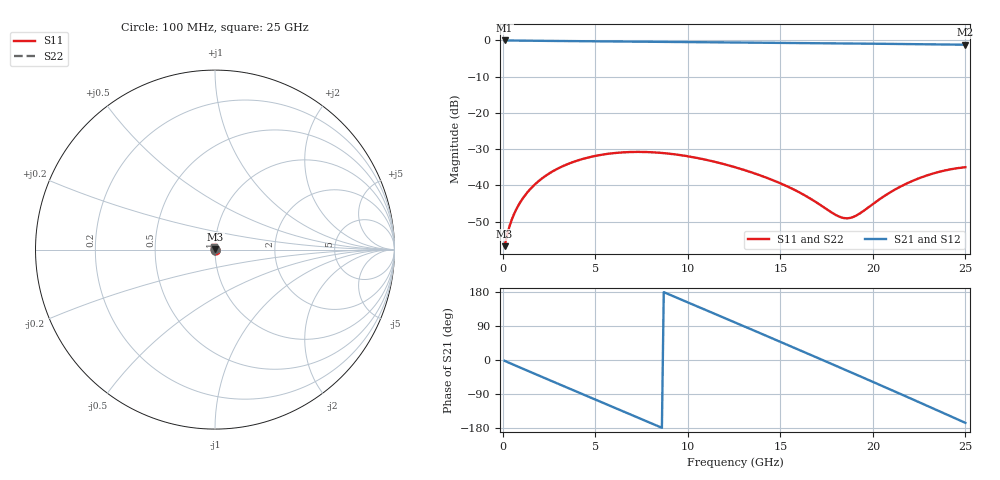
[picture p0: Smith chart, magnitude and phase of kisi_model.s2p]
! kisi C_s8_ap1000: fast channel model (formula impedances, via model), up to 25 GHz
# Hz S RI R 50
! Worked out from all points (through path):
!   250 points, 100 MHz to 25 GHz, reference 50 ohm
!   highest |S21| = -0.02 dB at 100 MHz (marker M1); lowest = -1.2 dB at 25 GHz (marker M2)
!   group delay of S21, straight-line fit = 58.2 ps
!   lowest |S11| = -56.8 dB at 100 MHz (marker M3), VSWR 1.00, Z = 50.1 + j0.0677 ohm
!   |S11| at or under -10 dB: start of sweep to end of sweep
!   |S22| runs from -56.8 to -30.8 dB; largest |S21 - S12| = 0
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1e8  0.00128 0.000676  0.9974 -0.038  0.9974 -0.038  0.00128 0.000676
6e8  0.00214 0.00333  0.9699 -0.2205  0.9699 -0.2205  0.00214 0.00333
1.4e9  0.00478 0.00689  0.8608 -0.4889  0.8608 -0.4889  0.00478 0.00689
2.9e9  0.0139 0.00913  0.4783 -0.8574  0.4783 -0.8574  0.0139 0.00913
4.3e9  0.0228 0.00322  0.0019 -0.9746  0.0019 -0.9746  0.0228 0.00322
6.1e9  0.025 -0.0126  -0.5832 -0.7696  -0.5832 -0.7696  0.025 -0.0126
7.3e9  0.0182 -0.0225  -0.8474 -0.4509  -0.8474 -0.4509  0.0182 -0.0225
8.4e9  0.00799 -0.0271  -0.9507 -0.0873  -0.9507 -0.0873  0.00799 -0.0271
1.03e10  -0.00974 -0.0224  -0.7831 0.5306  -0.7831 0.5306  -0.00974 -0.0224
1.15e10  -0.0159 -0.0137  -0.4839 0.8065  -0.4839 0.8065  -0.0159 -0.0137
1.26e10  -0.0168 -0.00529  -0.1315 0.9262  -0.1315 0.9262  -0.0168 -0.00529
1.45e10  -0.0112 0.00431  0.4852 0.7896  0.4852 0.7896  -0.0112 0.00431
1.56e10  -0.00695 0.00584  0.7514 0.5337  0.7514 0.5337  -0.00695 0.00584
1.67e10  -0.00381 0.00511  0.8955 0.1946  0.8955 0.1946  -0.00381 0.00511
1.77e10  -0.00259 0.00347  0.9008 -0.14  0.9008 -0.14  -0.00259 0.00347
1.87e10  -0.003 0.00185  0.7851 -0.4535  0.7851 -0.4535  -0.003 0.00185
1.99e10  -0.00517 0.00102  0.5095 -0.7426  0.5095 -0.7426  -0.00517 0.00102
2.09e10  -0.00767 0.00187  0.2025 -0.8721  0.2025 -0.8721  -0.00767 0.00187
2.18e10  -0.00971 0.004  -0.0973 -0.8851  -0.0973 -0.8851  -0.00971 0.004
2.28e10  -0.0109 0.00766  -0.4139 -0.7821  -0.4139 -0.7821  -0.0109 0.00766
2.4e10  -0.0101 0.0127  -0.7102 -0.5159  -0.7102 -0.5159  -0.0101 0.0127
2.5e10  -0.00732 0.0162  -0.8455 -0.2117  -0.8455 -0.2117  -0.00732 0.0162
